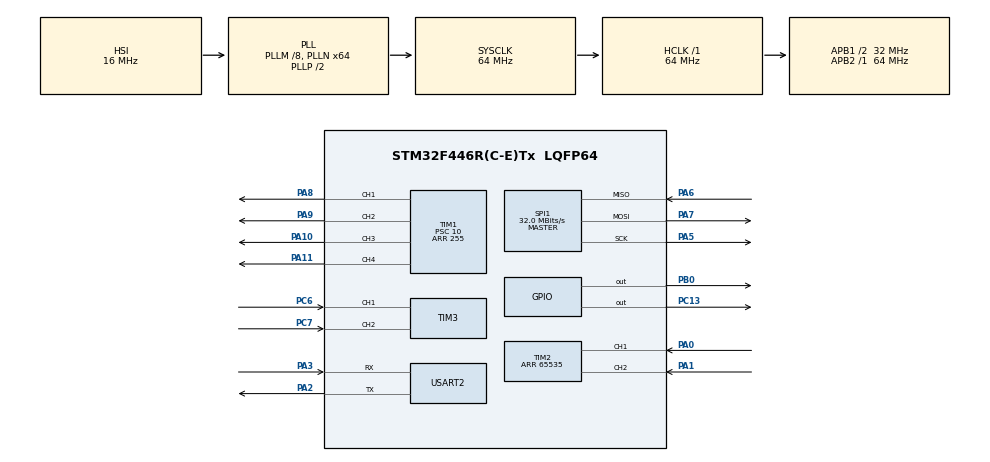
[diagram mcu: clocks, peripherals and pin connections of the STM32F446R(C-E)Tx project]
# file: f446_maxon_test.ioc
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Mcu.Family=STM32F4
PA6.Mode=Full_Duplex_Master
SH.S_TIM1_CH4.0=TIM1_CH4,PWM Generation4 CH4
RCC.CortexFreq_Value=64000000
PA7.Mode=Full_Duplex_Master
SPI1.VirtualType=VM_MASTER
PC13.Signal=GPIO_Output
PC6.Signal=S_TIM3_CH1
RCC.APB1CLKDivider=RCC_HCLK_DIV2
RCC.SYSCLKSource=RCC_SYSCLKSOURCE_PLLCLK
ProjectManager.StackSize=0x400
PA0-WKUP.Signal=S_TIM2_CH1_ETR
PA3.Mode=Asynchronous
SH.S_TIM2_CH2.0=TIM2_CH2,Encoder_Interface
TIM1.Prescaler=10
SH.S_TIM1_CH1.0=TIM1_CH1,PWM Generation1 CH1
ProjectManager.TargetToolchain=STM32CubeIDE
TIM1.Channel-PWM\ Generation4\ CH4=TIM_CHANNEL_4
SPI1.Direction=SPI_DIRECTION_2LINES
RCC.HCLKFreq_Value=64000000
RCC.APB2TimFreq_Value=64000000
PA9.Signal=S_TIM1_CH2
TIM1.Channel-PWM\ Generation2\ CH2=TIM_CHANNEL_2
PC7.Signal=S_TIM3_CH2
SPI1.CalculateBaudRate=32.0 MBits/s
RCC.USBFreq_Value=64000000
PA1.Signal=S_TIM2_CH2
RCC.AHBFreq_Value=64000000
PA5.Signal=SPI1_SCK
SH.S_TIM3_CH2.0=TIM3_CH2,Encoder_Interface
board=custom
RCC.VCOOutputFreq_Value=128000000
RCC.APB2Freq_Value=64000000
SH.S_TIM1_CH2.0=TIM1_CH2,PWM Generation2 CH2
TIM1.Channel-PWM\ Generation1\ CH1=TIM_CHANNEL_1
SPI1.Mode=SPI_MODE_MASTER
PA8.Signal=S_TIM1_CH1
SH.S_TIM3_CH1.0=TIM3_CH1,Encoder_Interface
TIM2.Period=65535
Mcu.Name=STM32F446R(C-E)Tx
VP_TIM1_VS_ClockSourceINT.Mode=Internal
PA2.Signal=USART2_TX
RCC.SYSCLKFreq_VALUE=64000000
Mcu.Package=LQFP64
PA6.Signal=SPI1_MISO
USART2.VirtualMode=VM_ASYNC
PA11.Signal=S_TIM1_CH4
SH.S_TIM2_CH1_ETR.0=TIM2_CH1,Encoder_Interface
PA10.Signal=S_TIM1_CH3
ProjectManager.HeapSize=0x200
SH.S_TIM1_CH3.0=TIM1_CH3,PWM Generation3 CH3
NVIC.PriorityGroup=NVIC_PRIORITYGROUP_4
RCC.PLLM=8
RCC.PLLN=64
RCC.APB1TimFreq_Value=64000000
PA2.Mode=Asynchronous
TIM1.Period=255
TIM1.Channel-PWM\ Generation3\ CH3=TIM_CHANNEL_3
RCC.APB1Freq_Value=32000000
PB0.Signal=GPIO_Output
PA3.Signal=USART2_RX
PA5.Mode=Full_Duplex_Master
PA7.Signal=SPI1_MOSI

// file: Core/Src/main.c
/* USER CODE BEGIN Header */
/**
  ******************************************************************************
  * @file           : main.c
  * @brief          : Main program body
  ******************************************************************************
  * @attention
  *
  * <h2><center>&copy; Copyright (c) 2021 STMicroelectronics.
  * All rights reserved.</center></h2>
  *
  * This software component is licensed by ST under BSD 3-Clause license,
  * the "License"; You may not use this file except in compliance with the
  * License. You may obtain a copy of the License at:
  *                        opensource.org/licenses/BSD-3-Clause
  *
  ******************************************************************************
  */
/* USER CODE END Header */
#include "main.h"

SPI_HandleTypeDef hspi1;

TIM_HandleTypeDef htim1;
TIM_HandleTypeDef htim2;
TIM_HandleTypeDef htim3;

UART_HandleTypeDef huart2;

void SystemClock_Config(void);
static void MX_GPIO_Init(void);
static void MX_USART2_UART_Init(void);
static void MX_TIM1_Init(void);
static void MX_SPI1_Init(void);
static void MX_TIM2_Init(void);
static void MX_TIM3_Init(void);

/* USER CODE BEGIN 0 */
int16_t get_encoder( void )
{
  uint16_t enc_buff = TIM1->CNT;
  TIM1->CNT = 0;
  if (enc_buff > 32767)
  {
    return (int16_t)enc_buff * -1;
  }
  else
  {
    return (int16_t)enc_buff;
  }
}
/* USER CODE END 0 */

int main(void)
{

  /* MCU Configuration--------------------------------------------------------*/

  /* Reset of all peripherals, Initializes the Flash interface and the Systick. */
  HAL_Init();

  /* Configure the system clock */
  SystemClock_Config();

  /* Initialize all configured peripherals */
  MX_GPIO_Init();
  MX_USART2_UART_Init();
  MX_TIM1_Init();
  MX_SPI1_Init();
  MX_TIM2_Init();
  MX_TIM3_Init();
  /* USER CODE BEGIN 2 */

  short duty;
  int cnt= 0;
  int cnt2 = 0;
  HAL_TIM_PWM_Start(&htim1,TIM_CHANNEL_1);
  HAL_TIM_PWM_Start(&htim1,TIM_CHANNEL_2);
  HAL_TIM_PWM_Start(&htim1,TIM_CHANNEL_3);
  HAL_TIM_PWM_Start(&htim1,TIM_CHANNEL_4);
  HAL_TIM_Encoder_Start(&htim2, TIM_CHANNEL_ALL);
  HAL_TIM_Encoder_Start(&htim3, TIM_CHANNEL_ALL);

  HAL_GPIO_WritePin(GPIOC, GPIO_PIN_13, GPIO_PIN_SET);
  __HAL_TIM_SET_COMPARE(&htim1,TIM_CHANNEL_3,100);
  __HAL_TIM_SET_COMPARE(&htim1,TIM_CHANNEL_4,0);
  HAL_GPIO_WritePin(GPIOB, GPIO_PIN_0, GPIO_PIN_SET);
  __HAL_TIM_SET_COMPARE(&htim1,TIM_CHANNEL_1,100);
  __HAL_TIM_SET_COMPARE(&htim1,TIM_CHANNEL_2,0);

  /* USER CODE END 2 */

  /* Infinite loop */
  while (1)
  {

    /* USER CODE BEGIN 3 */
	  cnt = TIM2 -> CNT;
	  cnt2 = TIM3 -> CNT;
//	  printf( "encoder = %d\r\n",count_total );
	  printf( "encoder = %d,%d\r\n",cnt,cnt2 );
	  HAL_Delay(1000);
//	  count_total = get_encoder();

//	  for(int i=0;i<256;i++){
//		  duty=i;
//		  HAL_GPIO_WritePin(GPIOC, GPIO_PIN_13, GPIO_PIN_SET);
//		  __HAL_TIM_SET_COMPARE(&htim1,TIM_CHANNEL_3,duty);
//		  __HAL_TIM_SET_COMPARE(&htim1,TIM_CHANNEL_4,0);
//		  HAL_Delay(20);
//	  }
//
//	 HAL_GPIO_WritePin(GPIOC, GPIO_PIN_13, GPIO_PIN_RESET);
//	 HAL_Delay(1000);
//	 for(int i=0;i<256;i++){
//		 duty=i;
//		 HAL_GPIO_WritePin(GPIOC, GPIO_PIN_13, GPIO_PIN_SET);
//		 __HAL_TIM_SET_COMPARE(&htim1,TIM_CHANNEL_3,0);
//		 __HAL_TIM_SET_COMPARE(&htim1,TIM_CHANNEL_4,duty);
//		 HAL_Delay(20);
//	 }
//
//	 HAL_GPIO_WritePin(GPIOC, GPIO_PIN_13, GPIO_PIN_RESET);
//	 HAL_Delay(1000);
//
//	  printf( "Hello World \r\n");
  }
  /* USER CODE END 3 */
}

void SystemClock_Config(void)
{
  RCC_OscInitTypeDef RCC_OscInitStruct = {0};
  RCC_ClkInitTypeDef RCC_ClkInitStruct = {0};

  /** Configure the main internal regulator output voltage
  */
  __HAL_RCC_PWR_CLK_ENABLE();
  __HAL_PWR_VOLTAGESCALING_CONFIG(PWR_REGULATOR_VOLTAGE_SCALE3);
  /** Initializes the RCC Oscillators according to the specified parameters
  * in the RCC_OscInitTypeDef structure.
  */
  RCC_OscInitStruct.OscillatorType = RCC_OSCILLATORTYPE_HSI;
  RCC_OscInitStruct.HSIState = RCC_HSI_ON;
  RCC_OscInitStruct.HSICalibrationValue = RCC_HSICALIBRATION_DEFAULT;
  RCC_OscInitStruct.PLL.PLLState = RCC_PLL_ON;
  RCC_OscInitStruct.PLL.PLLSource = RCC_PLLSOURCE_HSI;
  RCC_OscInitStruct.PLL.PLLM = 8;
  RCC_OscInitStruct.PLL.PLLN = 64;
  RCC_OscInitStruct.PLL.PLLP = RCC_PLLP_DIV2;
  RCC_OscInitStruct.PLL.PLLQ = 2;
  RCC_OscInitStruct.PLL.PLLR = 2;
  if (HAL_RCC_OscConfig(&RCC_OscInitStruct) != HAL_OK)
  {
    Error_Handler();
  }
  /** Initializes the CPU, AHB and APB buses clocks
  */
  RCC_ClkInitStruct.ClockType = RCC_CLOCKTYPE_HCLK|RCC_CLOCKTYPE_SYSCLK
                              |RCC_CLOCKTYPE_PCLK1|RCC_CLOCKTYPE_PCLK2;
  RCC_ClkInitStruct.SYSCLKSource = RCC_SYSCLKSOURCE_PLLCLK;
  RCC_ClkInitStruct.AHBCLKDivider = RCC_SYSCLK_DIV1;
  RCC_ClkInitStruct.APB1CLKDivider = RCC_HCLK_DIV2;
  RCC_ClkInitStruct.APB2CLKDivider = RCC_HCLK_DIV1;

  if (HAL_RCC_ClockConfig(&RCC_ClkInitStruct, FLASH_LATENCY_2) != HAL_OK)
  {
    Error_Handler();
  }
}

static void MX_SPI1_Init(void)
{

  /* SPI1 parameter configuration*/
  hspi1.Instance = SPI1;
  hspi1.Init.Mode = SPI_MODE_MASTER;
  hspi1.Init.Direction = SPI_DIRECTION_2LINES;
  hspi1.Init.DataSize = SPI_DATASIZE_8BIT;
  hspi1.Init.CLKPolarity = SPI_POLARITY_LOW;
  hspi1.Init.CLKPhase = SPI_PHASE_1EDGE;
  hspi1.Init.NSS = SPI_NSS_SOFT;
  hspi1.Init.BaudRatePrescaler = SPI_BAUDRATEPRESCALER_2;
  hspi1.Init.FirstBit = SPI_FIRSTBIT_MSB;
  hspi1.Init.TIMode = SPI_TIMODE_DISABLE;
  hspi1.Init.CRCCalculation = SPI_CRCCALCULATION_DISABLE;
  hspi1.Init.CRCPolynomial = 10;
  if (HAL_SPI_Init(&hspi1) != HAL_OK)
  {
    Error_Handler();
  }

}

static void MX_TIM1_Init(void)
{

  TIM_ClockConfigTypeDef sClockSourceConfig = {0};
  TIM_MasterConfigTypeDef sMasterConfig = {0};
  TIM_OC_InitTypeDef sConfigOC = {0};
  TIM_BreakDeadTimeConfigTypeDef sBreakDeadTimeConfig = {0};

  htim1.Instance = TIM1;
  htim1.Init.Prescaler = 10;
  htim1.Init.CounterMode = TIM_COUNTERMODE_UP;
  htim1.Init.Period = 255;
  htim1.Init.ClockDivision = TIM_CLOCKDIVISION_DIV1;
  htim1.Init.RepetitionCounter = 0;
  htim1.Init.AutoReloadPreload = TIM_AUTORELOAD_PRELOAD_DISABLE;
  if (HAL_TIM_Base_Init(&htim1) != HAL_OK)
  {
    Error_Handler();
  }
  sClockSourceConfig.ClockSource = TIM_CLOCKSOURCE_INTERNAL;
  if (HAL_TIM_ConfigClockSource(&htim1, &sClockSourceConfig) != HAL_OK)
  {
    Error_Handler();
  }
  if (HAL_TIM_PWM_Init(&htim1) != HAL_OK)
  {
    Error_Handler();
  }
  sMasterConfig.MasterOutputTrigger = TIM_TRGO_RESET;
  sMasterConfig.MasterSlaveMode = TIM_MASTERSLAVEMODE_DISABLE;
  if (HAL_TIMEx_MasterConfigSynchronization(&htim1, &sMasterConfig) != HAL_OK)
  {
    Error_Handler();
  }
  sConfigOC.OCMode = TIM_OCMODE_PWM1;
  sConfigOC.Pulse = 0;
  sConfigOC.OCPolarity = TIM_OCPOLARITY_HIGH;
  sConfigOC.OCNPolarity = TIM_OCNPOLARITY_HIGH;
  sConfigOC.OCFastMode = TIM_OCFAST_DISABLE;
  sConfigOC.OCIdleState = TIM_OCIDLESTATE_RESET;
  sConfigOC.OCNIdleState = TIM_OCNIDLESTATE_RESET;
  if (HAL_TIM_PWM_ConfigChannel(&htim1, &sConfigOC, TIM_CHANNEL_1) != HAL_OK)
  {
    Error_Handler();
  }
  if (HAL_TIM_PWM_ConfigChannel(&htim1, &sConfigOC, TIM_CHANNEL_2) != HAL_OK)
  {
    Error_Handler();
  }
  if (HAL_TIM_PWM_ConfigChannel(&htim1, &sConfigOC, TIM_CHANNEL_3) != HAL_OK)
  {
    Error_Handler();
  }
  if (HAL_TIM_PWM_ConfigChannel(&htim1, &sConfigOC, TIM_CHANNEL_4) != HAL_OK)
  {
    Error_Handler();
  }
  sBreakDeadTimeConfig.OffStateRunMode = TIM_OSSR_DISABLE;
  sBreakDeadTimeConfig.OffStateIDLEMode = TIM_OSSI_DISABLE;
  sBreakDeadTimeConfig.LockLevel = TIM_LOCKLEVEL_OFF;
  sBreakDeadTimeConfig.DeadTime = 0;
  sBreakDeadTimeConfig.BreakState = TIM_BREAK_DISABLE;
  sBreakDeadTimeConfig.BreakPolarity = TIM_BREAKPOLARITY_HIGH;
  sBreakDeadTimeConfig.AutomaticOutput = TIM_AUTOMATICOUTPUT_DISABLE;
  if (HAL_TIMEx_ConfigBreakDeadTime(&htim1, &sBreakDeadTimeConfig) != HAL_OK)
  {
    Error_Handler();
  }
  HAL_TIM_MspPostInit(&htim1);

}

static void MX_TIM2_Init(void)
{

  TIM_Encoder_InitTypeDef sConfig = {0};
  TIM_MasterConfigTypeDef sMasterConfig = {0};

  htim2.Instance = TIM2;
  htim2.Init.Prescaler = 0;
  htim2.Init.CounterMode = TIM_COUNTERMODE_UP;
  htim2.Init.Period = 65535;
  htim2.Init.ClockDivision = TIM_CLOCKDIVISION_DIV1;
  htim2.Init.AutoReloadPreload = TIM_AUTORELOAD_PRELOAD_DISABLE;
  sConfig.EncoderMode = TIM_ENCODERMODE_TI1;
  sConfig.IC1Polarity = TIM_ICPOLARITY_RISING;
  sConfig.IC1Selection = TIM_ICSELECTION_DIRECTTI;
  sConfig.IC1Prescaler = TIM_ICPSC_DIV1;
  sConfig.IC1Filter = 0;
  sConfig.IC2Polarity = TIM_ICPOLARITY_RISING;
  sConfig.IC2Selection = TIM_ICSELECTION_DIRECTTI;
  sConfig.IC2Prescaler = TIM_ICPSC_DIV1;
  sConfig.IC2Filter = 0;
  if (HAL_TIM_Encoder_Init(&htim2, &sConfig) != HAL_OK)
  {
    Error_Handler();
  }
  sMasterConfig.MasterOutputTrigger = TIM_TRGO_RESET;
  sMasterConfig.MasterSlaveMode = TIM_MASTERSLAVEMODE_DISABLE;
  if (HAL_TIMEx_MasterConfigSynchronization(&htim2, &sMasterConfig) != HAL_OK)
  {
    Error_Handler();
  }

}

static void MX_TIM3_Init(void)
{

  TIM_Encoder_InitTypeDef sConfig = {0};
  TIM_MasterConfigTypeDef sMasterConfig = {0};

  htim3.Instance = TIM3;
  htim3.Init.Prescaler = 0;
  htim3.Init.CounterMode = TIM_COUNTERMODE_UP;
  htim3.Init.Period = 65535;
  htim3.Init.ClockDivision = TIM_CLOCKDIVISION_DIV1;
  htim3.Init.AutoReloadPreload = TIM_AUTORELOAD_PRELOAD_DISABLE;
  sConfig.EncoderMode = TIM_ENCODERMODE_TI1;
  sConfig.IC1Polarity = TIM_ICPOLARITY_RISING;
  sConfig.IC1Selection = TIM_ICSELECTION_DIRECTTI;
  sConfig.IC1Prescaler = TIM_ICPSC_DIV1;
  sConfig.IC1Filter = 0;
  sConfig.IC2Polarity = TIM_ICPOLARITY_RISING;
  sConfig.IC2Selection = TIM_ICSELECTION_DIRECTTI;
  sConfig.IC2Prescaler = TIM_ICPSC_DIV1;
  sConfig.IC2Filter = 0;
  if (HAL_TIM_Encoder_Init(&htim3, &sConfig) != HAL_OK)
  {
    Error_Handler();
  }
  sMasterConfig.MasterOutputTrigger = TIM_TRGO_RESET;
  sMasterConfig.MasterSlaveMode = TIM_MASTERSLAVEMODE_DISABLE;
  if (HAL_TIMEx_MasterConfigSynchronization(&htim3, &sMasterConfig) != HAL_OK)
  {
    Error_Handler();
  }

}

static void MX_USART2_UART_Init(void)
{

  huart2.Instance = USART2;
  huart2.Init.BaudRate = 115200;
  huart2.Init.WordLength = UART_WORDLENGTH_8B;
  huart2.Init.StopBits = UART_STOPBITS_1;
  huart2.Init.Parity = UART_PARITY_NONE;
  huart2.Init.Mode = UART_MODE_TX_RX;
  huart2.Init.HwFlowCtl = UART_HWCONTROL_NONE;
  huart2.Init.OverSampling = UART_OVERSAMPLING_16;
  if (HAL_UART_Init(&huart2) != HAL_OK)
  {
    Error_Handler();
  }

}

static void MX_GPIO_Init(void)
{
  GPIO_InitTypeDef GPIO_InitStruct = {0};

  /* GPIO Ports Clock Enable */
  __HAL_RCC_GPIOC_CLK_ENABLE();
  __HAL_RCC_GPIOA_CLK_ENABLE();
  __HAL_RCC_GPIOB_CLK_ENABLE();

  /*Configure GPIO pin Output Level */
  HAL_GPIO_WritePin(GPIOC, GPIO_PIN_13, GPIO_PIN_RESET);

  /*Configure GPIO pin Output Level */
  HAL_GPIO_WritePin(GPIOB, GPIO_PIN_0, GPIO_PIN_RESET);

  /*Configure GPIO pin : PC13 */
  GPIO_InitStruct.Pin = GPIO_PIN_13;
  GPIO_InitStruct.Mode = GPIO_MODE_OUTPUT_PP;
  GPIO_InitStruct.Pull = GPIO_NOPULL;
  GPIO_InitStruct.Speed = GPIO_SPEED_FREQ_LOW;
  HAL_GPIO_Init(GPIOC, &GPIO_InitStruct);

  /*Configure GPIO pin : PB0 */
  GPIO_InitStruct.Pin = GPIO_PIN_0;
  GPIO_InitStruct.Mode = GPIO_MODE_OUTPUT_PP;
  GPIO_InitStruct.Pull = GPIO_NOPULL;
  GPIO_InitStruct.Speed = GPIO_SPEED_FREQ_LOW;
  HAL_GPIO_Init(GPIOB, &GPIO_InitStruct);

}

/* USER CODE BEGIN 4 */

int _write(int file, char *ptr, int len)
{
  HAL_UART_Transmit(&huart2,(uint8_t *)ptr,len,10);
  return len;
}

/* USER CODE END 4 */

void Error_Handler(void)
{
  __disable_irq();
  while (1)
  {
  }
}

/************************ (C) COPYRIGHT STMicroelectronics *****END OF FILE****/
